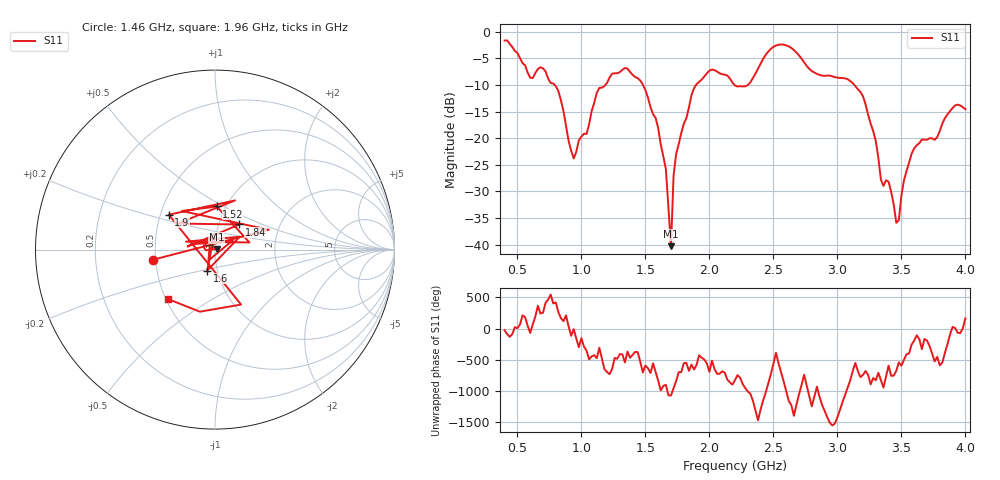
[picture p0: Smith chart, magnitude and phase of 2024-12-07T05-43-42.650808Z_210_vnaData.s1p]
!Created with skrf (http://scikit-rf.org).
# Hz S RI R 50.0
!freq ReS11 ImS11
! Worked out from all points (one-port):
!   181 points, 400 MHz to 4 GHz, reference 50 ohm
!   lowest |S11| = -40.3 dB at 1.7 GHz (marker M1), VSWR 1.02, Z = 51 + j0.201 ohm
!   |S11| at or under -10 dB: 791.7 MHz to 1.187 GHz (394.9 MHz wide, 39.9 % of centre); 1.482 GHz to 1.896 GHz (413.8 MHz wide, 24.5 % of centre); 3.133 GHz to end of sweep (the widest 3 of 4)
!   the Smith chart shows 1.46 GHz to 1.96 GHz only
!   S11 on the Smith chart (normalised r, x): 1.46 GHz: 0.49, -0.06; 1.52 GHz: 0.91, +0.46; 1.6 GHz: 0.89, -0.21; 1.84 GHz: 1.25, +0.36; 1.9 GHz: 0.55, +0.24; 1.96 GHz: 0.51, -0.33
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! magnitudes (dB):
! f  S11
! 400 MHz  -1.6
! 600 MHz  -8.6
! 720 MHz  -7.4
! 860 MHz  -14.9
! 940 MHz  -23.8
! 1.14 GHz  -10.5
! 1.3 GHz  -7.6
! 1.46 GHz  -9.2
! 1.52 GHz  -12.4
! 1.6 GHz  -18.1
! 1.66 GHz  -25.8
! 1.7 GHz  -40.3
! 1.72 GHz  -27.1
! 1.76 GHz  -21.1
! 1.84 GHz  -14.2
! 1.9 GHz  -9.8
! 1.96 GHz  -8.4
! 2.2 GHz  -10.1
! 2.5 GHz  -2.8
! 2.66 GHz  -3.4
! 3.1 GHz  -9.2
! 3.2 GHz  -12.1
! 3.3 GHz  -20.5
! 3.34 GHz  -27.8
! 3.4 GHz  -28.2
! 3.46 GHz  -35.9
! 3.56 GHz  -24.6
! 4 GHz  -14.5
